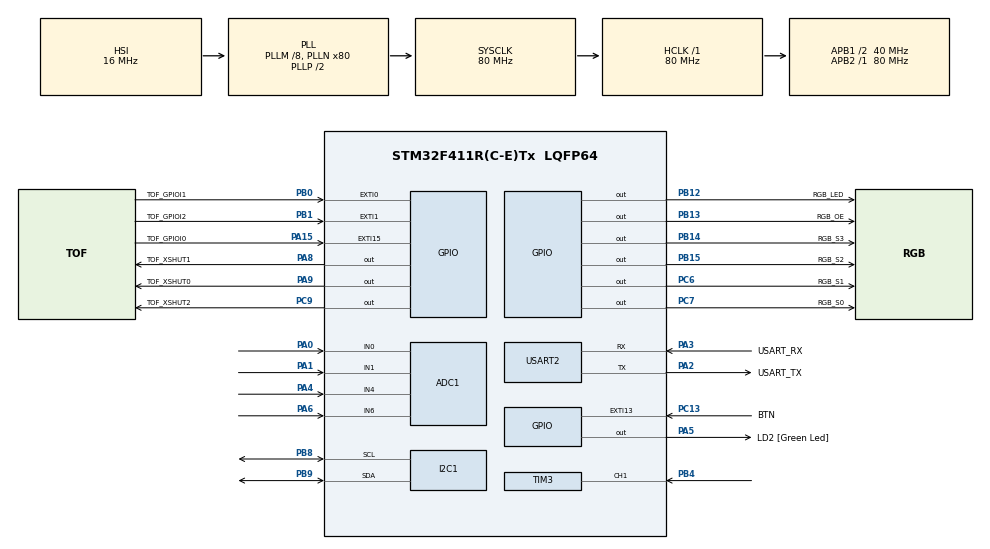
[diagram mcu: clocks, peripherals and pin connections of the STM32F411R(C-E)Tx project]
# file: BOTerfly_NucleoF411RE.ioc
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ADC1.Channel-0\#ChannelRegularConversion=ADC_CHANNEL_0
ADC1.Channel-1\#ChannelRegularConversion=ADC_CHANNEL_1
ADC1.Channel-2\#ChannelRegularConversion=ADC_CHANNEL_4
ADC1.Channel-3\#ChannelRegularConversion=ADC_CHANNEL_6
ADC1.ContinuousConvMode=ENABLE
ADC1.NbrOfConversion=4
ADC1.NbrOfConversionFlag=1
ADC1.Rank-0\#ChannelRegularConversion=1
ADC1.Rank-1\#ChannelRegularConversion=2
ADC1.Rank-2\#ChannelRegularConversion=3
ADC1.Rank-3\#ChannelRegularConversion=4
ADC1.SamplingTime-0\#ChannelRegularConversion=ADC_SAMPLETIME_3CYCLES
ADC1.SamplingTime-1\#ChannelRegularConversion=ADC_SAMPLETIME_3CYCLES
ADC1.SamplingTime-2\#ChannelRegularConversion=ADC_SAMPLETIME_3CYCLES
ADC1.SamplingTime-3\#ChannelRegularConversion=ADC_SAMPLETIME_3CYCLES
ADC1.master=1
Dma.ADC1.0.Direction=DMA_PERIPH_TO_MEMORY
Dma.ADC1.0.FIFOMode=DMA_FIFOMODE_DISABLE
Dma.ADC1.0.Instance=DMA2_Stream0
Dma.ADC1.0.MemDataAlignment=DMA_MDATAALIGN_WORD
Dma.ADC1.0.MemInc=DMA_MINC_ENABLE
Dma.ADC1.0.Mode=DMA_CIRCULAR
Dma.ADC1.0.PeriphDataAlignment=DMA_PDATAALIGN_WORD
Dma.ADC1.0.PeriphInc=DMA_PINC_DISABLE
Dma.ADC1.0.Priority=DMA_PRIORITY_LOW
Dma.Request0=ADC1
FREERTOS.INCLUDE_uxTaskGetStackHighWaterMark=1
FREERTOS.Tasks01=defaultTask,0,128,StartDefaultTask,Default,NULL,Dynamic,NULL,NULL
FREERTOS.configUSE_NEWLIB_REENTRANT=1
I2C1.I2C_Mode=I2C_Fast
Mcu.Family=STM32F4
Mcu.Name=STM32F411R(C-E)Tx
Mcu.Package=LQFP64
NVIC.DMA2_Stream0_IRQn=true\:5\:0\:false\:false\:true\:true\:false\:true
NVIC.EXTI0_IRQn=true\:5\:0\:false\:false\:true\:true\:true\:true
NVIC.EXTI15_10_IRQn=true\:5\:0\:false\:false\:true\:true\:true\:true
NVIC.EXTI1_IRQn=true\:5\:0\:false\:false\:true\:true\:true\:true
NVIC.PriorityGroup=NVIC_PRIORITYGROUP_4
NVIC.TIM1_TRG_COM_TIM11_IRQn=true\:15\:0\:false\:false\:true\:false\:false\:true
NVIC.TIM3_IRQn=true\:5\:0\:false\:false\:true\:true\:true\:true
NVIC.TimeBase=TIM1_TRG_COM_TIM11_IRQn
NVIC.TimeBaseIP=TIM11
PA0-WKUP.Signal=ADCx_IN0
PA1.Signal=ADCx_IN1
PA13.GPIO_Label=TMS
PA13.Mode=Serial_Wire
PA13.Signal=SYS_JTMS-SWDIO
PA14.GPIO_Label=TCK
PA14.Mode=Serial_Wire
PA14.Signal=SYS_JTCK-SWCLK
PA15.GPIO_Label=TOF_GPIOI0
PA15.Signal=GPXTI15
PA2.GPIO_Label=USART_TX
PA2.Mode=Asynchronous
PA2.Signal=USART2_TX
PA3.GPIO_Label=USART_RX
PA3.Mode=Asynchronous
PA3.Signal=USART2_RX
PA4.Signal=ADCx_IN4
PA5.GPIO_Label=LD2 [Green Led]
PA5.Signal=GPIO_Output
PA6.Signal=ADCx_IN6
PA8.GPIO_Label=TOF_XSHUT1
PA8.Signal=GPIO_Output
PA9.GPIO_Label=TOF_XSHUT0
PA9.Signal=GPIO_Output
PB0.GPIO_Label=TOF_GPIOI1
PB0.Signal=GPXTI0
PB1.GPIO_Label=TOF_GPIOI2
PB1.Signal=GPXTI1
PB12.GPIO_Label=RGB_LED
PB12.Signal=GPIO_Output
PB13.GPIO_Label=RGB_OE
PB13.Signal=GPIO_Output
PB14.GPIO_Label=RGB_S3
PB14.Signal=GPIO_Output
PB15.GPIO_Label=RGB_S2
PB15.Signal=GPIO_Output
PB3.GPIO_Label=SWO
PB3.Signal=SYS_JTDO-SWO
PB4.Signal=S_TIM3_CH1
PB8.Mode=I2C
PB8.Signal=I2C1_SCL
PB9.Mode=I2C
PB9.Signal=I2C1_SDA
PC13-ANTI_TAMP.GPIO_Label=BTN
PC13-ANTI_TAMP.Signal=GPXTI13
PC14-OSC32_IN.Mode=LSE-External-Oscillator
PC14-OSC32_IN.Signal=RCC_OSC32_IN
PC15-OSC32_OUT.Mode=LSE-External-Oscillator
PC15-OSC32_OUT.Signal=RCC_OSC32_OUT
PC6.GPIO_Label=RGB_S1
PC6.Signal=GPIO_Output
PC7.GPIO_Label=RGB_S0
PC7.Signal=GPIO_Output
PC9.GPIO_Label=TOF_XSHUT2
PC9.Signal=GPIO_Output
PH0\ -\ OSC_IN.Mode=HSE-External-Clock-Source
PH0\ -\ OSC_IN.Signal=RCC_OSC_IN
PH1\ -\ OSC_OUT.Mode=HSE-External-Clock-Source
PH1\ -\ OSC_OUT.Signal=RCC_OSC_OUT
ProjectManager.HeapSize=0x200
ProjectManager.StackSize=0x400
ProjectManager.TargetToolchain=STM32CubeIDE
RCC.48MHZClocksFreq_Value=40000000
RCC.AHBFreq_Value=80000000
RCC.APB1CLKDivider=RCC_HCLK_DIV2
RCC.APB1Freq_Value=40000000
RCC.APB1TimFreq_Value=80000000
RCC.APB2Freq_Value=80000000
RCC.APB2TimFreq_Value=80000000
RCC.CortexFreq_Value=80000000
RCC.FLatency-AdvancedSettings=FLASH_LATENCY_2
RCC.HCLKFreq_Value=80000000
RCC.HSE_VALUE=8000000
RCC.HSI_VALUE=16000000
RCC.PLLM=8
RCC.PLLN=80
RCC.SYSCLKFreq_VALUE=80000000
RCC.SYSCLKSource=RCC_SYSCLKSOURCE_PLLCLK
RCC.VCOOutputFreq_Value=160000000
SH.ADCx_IN0.0=ADC1_IN0,IN0
SH.ADCx_IN1.0=ADC1_IN1,IN1
SH.ADCx_IN4.0=ADC1_IN4,IN4
SH.ADCx_IN6.0=ADC1_IN6,IN6
SH.S_TIM3_CH1.0=TIM3_CH1,Input_Capture1_from_TI1
TIM3.Channel-Input_Capture1_from_TI1=TIM_CHANNEL_1
TIM3.Prescaler=80-1
USART2.VirtualMode=VM_ASYNC
VP_FREERTOS_VS_CMSIS_V1.Mode=CMSIS_V1
VP_SYS_VS_tim11.Mode=TIM11
VP_TIM5_VS_ClockSourceINT.Mode=Internal
board=NUCLEO-F411RE

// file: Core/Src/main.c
/* USER CODE BEGIN Header */
/**
 ******************************************************************************
 * @file           : main.c
 * @brief          : Main program body
 ******************************************************************************
 * @attention
 *
 * <h2><center>&copy; Copyright (c) 2021 STMicroelectronics.
 * All rights reserved.</center></h2>
 *
 * This software component is licensed by ST under BSD 3-Clause license,
 * the "License"; You may not use this file except in compliance with the
 * License. You may obtain a copy of the License at:
 *                        opensource.org/licenses/BSD-3-Clause
 *
 ******************************************************************************
 */
/* USER CODE END Header */
#include "main.h"
#include "cmsis_os.h"
#include "adc.h"
#include "dma.h"
#include "i2c.h"
#include "tim.h"
#include "usart.h"
#include "gpio.h"

/* USER CODE BEGIN Includes */
#include <stdio.h>

#include <BOTterfly-H/config.h>

/* USER CODE END Includes */

/* USER CODE BEGIN PD */
#define SYNC_STACK_SIZE 250
#define CMD_STACK_SIZE 500
#define TOF_STACK_SIZE 1000
#define Ph_STACK_SIZE 500
#define RGB_STACK_SIZE 80
/* USER CODE END PD */

/* USER CODE BEGIN PV */

// TO CALCULATE THE STACK SIZE
UBaseType_t uxHighWaterMark_RGB_1;
UBaseType_t uxHighWaterMark_RGB_2;

UBaseType_t uxHighWaterMark_TOF_1;
UBaseType_t uxHighWaterMark_TOF_2;

// TO COUNT THE TIME
double timeDiff = 0;
uint32_t t1 = 0;
uint32_t t2 = 0;

// SEMAPHORE
SemaphoreHandle_t semBinary_CMD;
SemaphoreHandle_t semBinary_TOF;
SemaphoreHandle_t semBinary_Ph;
SemaphoreHandle_t semBinary_RGB;

SemaphoreHandle_t semMutex;
// TO START THE SYSTEM
uint8_t BTN = 0;

/* USER CODE END PV */

void SystemClock_Config(void);
void MX_FREERTOS_Init(void);

/* USER CODE BEGIN 0 */

/*
 * Gère la commande des moteurs en fonction des données des capteurs
 */
int count_TOF0 = 0;
int count_task_TOF = 0;

void vTaskSync(void* p)
{
	int i =0;

	printf("Wait BTN \r\n");
	while(BTN == 0){
		// Ne rien faire
	}
	printf("Start ! \r\n");

	while(1){
		//printf("TOF : %04d %04d %04d PH : %04ld %04ld %04ld NOISE : %04ld %04ld %04ld NORME : %04lu ANGLE : %03ld RED : %d X : %05d Y : %05d MOY : %04ld\r\n",TOF_Sensor[0].rangeMillimeter,TOF_Sensor[1].rangeMillimeter,TOF_Sensor[2].rangeMillimeter, Ph_Data[0], Ph_Data[1], Ph_Data[2], Ph_DataNoise[0], Ph_DataNoise[1], Ph_DataNoise[2], Ph_Norma, Ph_Angle, Red, X, Y, Ph_Max_Tr);
		printf("TOF : %04d %04d %04d  ||  count_TOF_0 %04d count_Task %04d \r\n",TOF_Sensor[0].rangeMillimeter,TOF_Sensor[1].rangeMillimeter,TOF_Sensor[2].rangeMillimeter,count_TOF0, count_task_TOF);

		if(i%20 == 0){
			xSemaphoreGive(semBinary_CMD);
		}else if(i%20 == 12){
			xSemaphoreGive(semBinary_TOF);
		}else if(i%20 == 4){
			xSemaphoreGive(semBinary_Ph);
		}else if(i%20 == 8){
			xSemaphoreGive(semBinary_RGB);
		}

		i++;

		vTaskDelay(1);
	}
}

void vTaskControl(void * p)
{
	while(1){
		xSemaphoreTake(semBinary_CMD,portMAX_DELAY);

		//		printf("Taille restante à la création de la tâche : %lu \r\n", uxHighWaterMark_RGB_1);
		//		printf("Taille restante à la fin de la tâche : %lu \r\n", uxHighWaterMark_RGB_2);

		//		timeDiff = (double)(t2-t1);
		//		timeDiff = timeDiff*12.5;
		//
		//		printf("timeDiff : %lf ns \r\n",(double)timeDiff);
		//		printf("timeDiff : %lf us \r\n",(double)timeDiff/1000.0);
		//		printf("timeDiff : %lf ms \r\n",(double)timeDiff/1000000.0);
		//		printf("\r\n");
		//xSemaphoreGive(semBinary_Ph);

		// Calcul direction :
		Ph_X = (int)(Ph_Norma * cos(Ph_Angle));
		Ph_Y = (int)(Ph_Norma * sin(Ph_Angle));

		int X0 = 0;
		int X1 = 0;
		int X2 = 0;
		int Y0 = 0;
		int Y1 = 0;
		int Y2 = 0;
		if (TOF_Sensor[0].rangeMillimeter < D_TOF)
		{

		}
		if (TOF_Sensor[0].rangeMillimeter < D_TOF)
		{

		}
		if (TOF_Sensor[0].rangeMillimeter < D_TOF)
		{

		}

		X = Ph_X + X0 + X1 + X2;
		Y = Ph_Y + Y0 + Y1 + Y2;
		// Commande moteur :
		Red = 0;
		if (RGB_Sensor.isFloorRed != 0)
		{
			// RED !
			Red = 1;
		}

	}
}

/*
 * Réalise les mesures de distance
 * Indique les distance à l'aide des variables globales :
 * TOF_Sensor[0].rangeMillimeter
 * TOF_Sensor[1].rangeMillimeter
 * TOF_Sensor[2].rangeMillimeter
 */
void vTaskToF(void * p)
{
	uxHighWaterMark_TOF_1 = uxTaskGetStackHighWaterMark(NULL);

	for(int i=0; i<TOF_nbOfSensor; i++){
		HAL_NVIC_EnableIRQ(TOF_Sensor[i].EXTI_IRQn);
	}
	//int j =0;
	while(1){
		xSemaphoreTake(semBinary_TOF,portMAX_DELAY);

count_task_TOF = count_TOF0;
		// Durée max observée : 2.319950ms
		// Durée min observée : 1.225000us
		for(int i=0; i<TOF_nbOfSensor; i++){
			if(TOF_Sensor[i].it.flag){
				xSemaphoreTake(semMutex,portMAX_DELAY);
				TOF_SetDistance_mm(&TOF_Sensor[i]);
				TOF_Sensor[i].it.flag = 0;
				xSemaphoreGive(semMutex);
			}
			//TOF_Sensor[i].rangeMillimeter = j;
			//j++;
		}
		uxHighWaterMark_TOF_2 = uxTaskGetStackHighWaterMark(NULL);
	}
}

void vTaskPhotodiodes(void * p)
{
	// Réalise les trois mesures
	// Calcule l'emplacement le plus lumineux
	// Remplie une variable avec un angle compris entre -100 et 100 pour orienter le robot :
	// Orientation
	//vTaskDelay(5);
	//Ph_Init();

	while(1){
		xSemaphoreTake(semBinary_Ph,portMAX_DELAY);

		Ph_GetMeasure(Ph_Data);
		//printf("--PH_DataNoise : %04lu, %04lu, %04lu\r\n", Ph_Data[0], Ph_Data[1], Ph_Data[2]);
		Ph_GetBestAngle(Ph_Data);
		Ph_GetNorma(Ph_Data);

		//printf("vTask_Ph \r\n");
		//xSemaphoreGive(semBinary_RGB);
	}
}

/*
 * Réalise les mesures de couleur
 * Indique si le sol est rouge avec la variable globale :
 * RGB_Sensor.isFloorRed
 */
void vTaskCouleur(void * p)
{
	uxHighWaterMark_RGB_1 = uxTaskGetStackHighWaterMark(NULL);
	HAL_TIM_IC_Start_IT(RGB_Sensor.Timer_Handle, RGB_Sensor.Timer_Channel);

	//HAL_GPIO_WritePin(RGB_Sensor.LED_GPIOx, RGB_Sensor.LED_GPIO_Pin, RESET);

	while(1){
		xSemaphoreTake(semBinary_RGB,portMAX_DELAY);

		//printf("vTask_RGB \r\n");

		if(RGB_Sensor.it.flag){
			// Bloc traitement IT : 10.15 us
			RGB_IsTheFloorRed(&RGB_Sensor);
			RGB_Sensor.it.flag = 0;
			//
		}
		uxHighWaterMark_RGB_2 = uxTaskGetStackHighWaterMark(NULL);
	}
}

/* USER CODE END 0 */

int main(void)
{
	/* USER CODE BEGIN 1 */
	TaskHandle_t xHandle = NULL;
	/* USER CODE END 1 */

	/* MCU Configuration--------------------------------------------------------*/

	/* Reset of all peripherals, Initializes the Flash interface and the Systick. */
	HAL_Init();

	/* Configure the system clock */
	SystemClock_Config();

	/* Initialize all configured peripherals */
	MX_GPIO_Init();
	MX_USART2_UART_Init();
	MX_TIM3_Init();
	MX_DMA_Init();
	MX_ADC1_Init();
	MX_I2C1_Init();
	MX_TIM5_Init();
	/* USER CODE BEGIN 2 */

	printf("\r\n --------------- BOTterfly --------------- \r\n");

	// INITIALISATION DES CAPTEURS ET DU MOTEUR :
	printf("Initialization \r\n");

	// Bloc TOF_Init : 1735.410150 ms
	TOF_Init_SetI2C(&TOF_Sensor[0], &hi2c1, 0x55);
	TOF_Init_SetGPIOs(&TOF_Sensor[0], TOF_XSHUT0_GPIO_Port, TOF_XSHUT0_Pin, TOF_GPIOI0_GPIO_Port, TOF_GPIOI0_Pin);
	TOF_Init_SetEXTI(&TOF_Sensor[0], TOF_GPIOI0_EXTI_IRQn);

	TOF_Init_SetI2C(&TOF_Sensor[1], &hi2c1, 0x58);
	TOF_Init_SetGPIOs(&TOF_Sensor[1], TOF_XSHUT1_GPIO_Port, TOF_XSHUT1_Pin, TOF_GPIOI1_GPIO_Port, TOF_GPIOI1_Pin);
	TOF_Init_SetEXTI(&TOF_Sensor[1], TOF_GPIOI1_EXTI_IRQn);

	TOF_Init_SetI2C(&TOF_Sensor[2], &hi2c1, 0x5b);
	TOF_Init_SetGPIOs(&TOF_Sensor[2], TOF_XSHUT2_GPIO_Port, TOF_XSHUT2_Pin, TOF_GPIOI2_GPIO_Port, TOF_GPIOI2_Pin);
	TOF_Init_SetEXTI(&TOF_Sensor[2], TOF_GPIOI2_EXTI_IRQn);

	TOF_Init(TOF_Sensor);
	//

	// Bloc RGB_Init : 401.954350 ms
	RGB_Init_SetTimer(&RGB_Sensor, &htim3, TIM_CHANNEL_1);

	RGB_Init_SetParamGPIOs(&RGB_Sensor, RGB_OE_GPIO_Port, RGB_OE_Pin, RGB_LED_GPIO_Port, RGB_LED_Pin);
	RGB_Init_SetOutFreqGPIOs(&RGB_Sensor, RGB_S0_GPIO_Port, RGB_S0_Pin, RGB_S1_GPIO_Port, RGB_S1_Pin);
	RGB_Init_SetColorFilterGPIOs(&RGB_Sensor, RGB_S2_GPIO_Port, RGB_S2_Pin, RGB_S3_GPIO_Port, RGB_S3_Pin);

	RGB_Init(&RGB_Sensor);

	Ph_Init();

	// Init Motor
	// Init Ph

	// CRÉATION DES SÉMAPHORES :
	printf("Creation Semaphore \r\n");

	semBinary_CMD = xSemaphoreCreateBinary();
	semBinary_TOF = xSemaphoreCreateBinary();
	semBinary_Ph = xSemaphoreCreateBinary();
	semBinary_RGB = xSemaphoreCreateBinary();

	semMutex = xSemaphoreCreateMutex();

	// CRÉATION DES BOÎTES AUX LETTRES :

	// CRÉATION DES TÂCHES :
	printf("Creation Task \r\n");

	if (xTaskCreate(vTaskSync, "Sync", SYNC_STACK_SIZE, (void *)NULL, 100, &xHandle) == errCOULD_NOT_ALLOCATE_REQUIRED_MEMORY)
	{
		printf("Task Sync Creation error : Could not allocate required memory\r\n");
	}
	if (xTaskCreate(vTaskControl, "Control", CMD_STACK_SIZE, (void *)NULL, 80, &xHandle) == errCOULD_NOT_ALLOCATE_REQUIRED_MEMORY)
	{
		printf("Task Control Creation error : Could not allocate required memory\r\n");
	}
	if (xTaskCreate(vTaskToF, "ToF", TOF_STACK_SIZE, (void *)NULL, 60, &xHandle) == errCOULD_NOT_ALLOCATE_REQUIRED_MEMORY)
	{
		printf("Task ToF Creation error : Could not allocate required memory\r\n");
	}
	if (xTaskCreate(vTaskPhotodiodes, "Photodiodes", Ph_STACK_SIZE, (void *)NULL, 40, &xHandle) == errCOULD_NOT_ALLOCATE_REQUIRED_MEMORY)
	{
		printf("Task Photodiode Creation error : Could not allocate required memory\r\n");
	}
	if (xTaskCreate(vTaskCouleur, "Couleur", RGB_STACK_SIZE, (void *)NULL, 20, &xHandle) == errCOULD_NOT_ALLOCATE_REQUIRED_MEMORY)
	{
		printf("Task Couleur Creation error : Could not allocate required memory\r\n");
	}

	/* USER CODE END 2 */

	/* Call init function for freertos objects (in freertos.c) */
	MX_FREERTOS_Init();
	/* Start scheduler */
	osKernelStart();

	/* We should never get here as control is now taken by the scheduler */
	/* Infinite loop */
	while (1)
	{

	}
}

void SystemClock_Config(void)
{
	RCC_OscInitTypeDef RCC_OscInitStruct = {0};
	RCC_ClkInitTypeDef RCC_ClkInitStruct = {0};

	/** Configure the main internal regulator output voltage
	 */
	__HAL_RCC_PWR_CLK_ENABLE();
	__HAL_PWR_VOLTAGESCALING_CONFIG(PWR_REGULATOR_VOLTAGE_SCALE1);
	/** Initializes the RCC Oscillators according to the specified parameters
	 * in the RCC_OscInitTypeDef structure.
	 */
	RCC_OscInitStruct.OscillatorType = RCC_OSCILLATORTYPE_HSI;
	RCC_OscInitStruct.HSIState = RCC_HSI_ON;
	RCC_OscInitStruct.HSICalibrationValue = RCC_HSICALIBRATION_DEFAULT;
	RCC_OscInitStruct.PLL.PLLState = RCC_PLL_ON;
	RCC_OscInitStruct.PLL.PLLSource = RCC_PLLSOURCE_HSI;
	RCC_OscInitStruct.PLL.PLLM = 8;
	RCC_OscInitStruct.PLL.PLLN = 80;
	RCC_OscInitStruct.PLL.PLLP = RCC_PLLP_DIV2;
	RCC_OscInitStruct.PLL.PLLQ = 4;
	if (HAL_RCC_OscConfig(&RCC_OscInitStruct) != HAL_OK)
	{
		Error_Handler();
	}
	/** Initializes the CPU, AHB and APB buses clocks
	 */
	RCC_ClkInitStruct.ClockType = RCC_CLOCKTYPE_HCLK|RCC_CLOCKTYPE_SYSCLK
			|RCC_CLOCKTYPE_PCLK1|RCC_CLOCKTYPE_PCLK2;
	RCC_ClkInitStruct.SYSCLKSource = RCC_SYSCLKSOURCE_PLLCLK;
	RCC_ClkInitStruct.AHBCLKDivider = RCC_SYSCLK_DIV1;
	RCC_ClkInitStruct.APB1CLKDivider = RCC_HCLK_DIV2;
	RCC_ClkInitStruct.APB2CLKDivider = RCC_HCLK_DIV1;

	if (HAL_RCC_ClockConfig(&RCC_ClkInitStruct, FLASH_LATENCY_2) != HAL_OK)
	{
		Error_Handler();
	}
}

/* USER CODE BEGIN 4 */
uint16_t icVal01 = 0;

uint8_t countTime = 0;

void HAL_TIM_IC_CaptureCallback(TIM_HandleTypeDef *htim)
{
	// Durée de l'IT : 1.550000us ou 1.325000us
	if(htim->Instance == RGB_Sensor.Timer_Handle->Instance)
	{
		if(RGB_Sensor.it.isFirstCaptured == 0){
			icVal01 = HAL_TIM_ReadCapturedValue(htim, RGB_Sensor.Timer_Channel);
			RGB_Sensor.it.isFirstCaptured = 1;
		}else{
			RGB_Sensor.it.icVal1 = icVal01;
			RGB_Sensor.it.icVal2 = HAL_TIM_ReadCapturedValue(htim, RGB_Sensor.Timer_Channel);
			RGB_Sensor.it.isFirstCaptured = 0;

			__HAL_TIM_SET_COUNTER(htim, 0);

			RGB_Sensor.it.flag = 1;
		}
	}
}

// VL53L0X_RangingMeasurementData_t VL53L0X_RangingMeasurementData;
void HAL_GPIO_EXTI_Callback(uint16_t GPIO_Pin)
{
	// Durée de l'IT : 0.500000us
	if(GPIO_Pin == TOF_Sensor[0].EXTI_GPIO_Pin){
		count_TOF0++;
		// IT toutes les 33ms
		TOF_Sensor[0].it.flag = 1;
		//TOF_SetDistance_mm(&TOF_Sensor[0]);
	}
	else if(GPIO_Pin == TOF_Sensor[1].EXTI_GPIO_Pin){
		// IT toutes les 33ms
		TOF_Sensor[1].it.flag = 1;
		//TOF_SetDistance_mm(&TOF_Sensor[1]);
	}
	else if(GPIO_Pin == TOF_Sensor[2].EXTI_GPIO_Pin){
		// IT toutes les 33ms
		TOF_Sensor[2].it.flag = 1;
		//TOF_SetDistance_mm(&TOF_Sensor[2]);
	}

	else if(GPIO_Pin == BTN_Pin){
		BTN = 1;
	}
}

int __io_putchar(int ch)
{
	HAL_UART_Transmit(&huart2, (uint8_t *)&ch, 1, HAL_MAX_DELAY);
	return ch;
}

/* USER CODE END 4 */

void HAL_TIM_PeriodElapsedCallback(TIM_HandleTypeDef *htim)
{
	if (htim->Instance == TIM11) {
		HAL_IncTick();
	}
}

void Error_Handler(void)
{
	__disable_irq();
	while (1)
	{
	}
}

/************************ (C) COPYRIGHT STMicroelectronics *****END OF FILE****/
